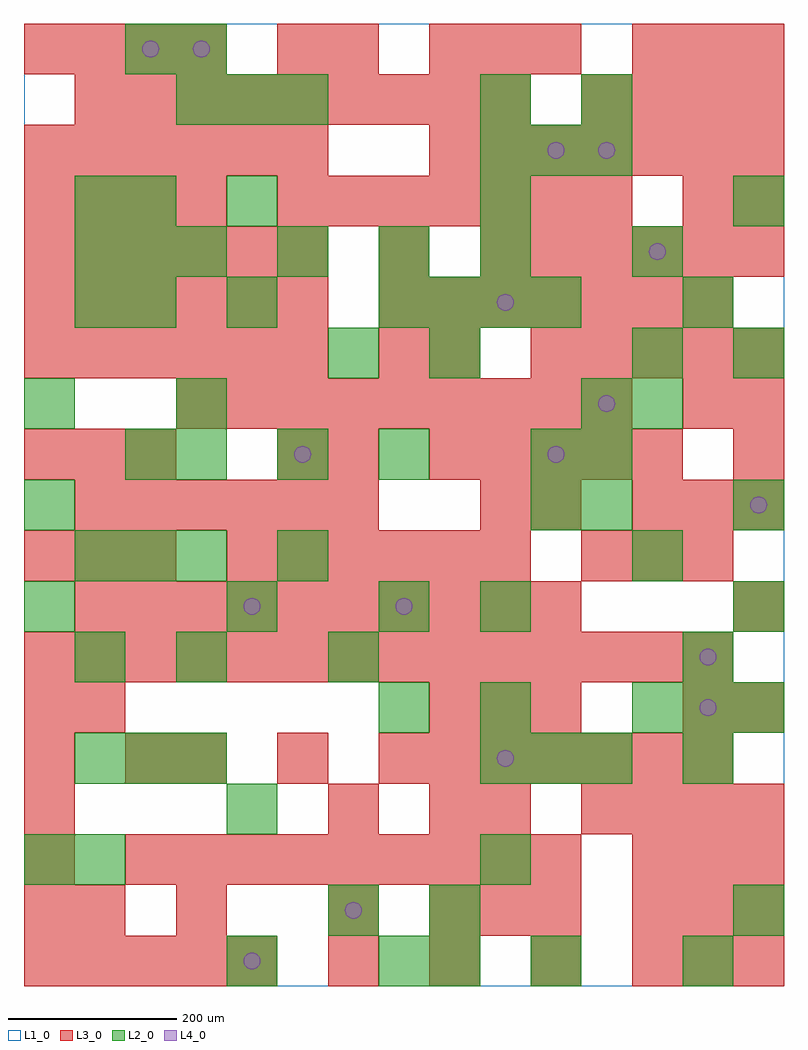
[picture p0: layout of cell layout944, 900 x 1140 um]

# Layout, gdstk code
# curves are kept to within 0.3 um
import gdstk
lib = gdstk.Library(unit=1e-6, precision=1e-09)
def R(c, l, rs):  # rectangles x0, y0, x1, y1
    for r in rs: c.add(gdstk.rectangle(r[:2], r[2:], *l))
def A(c, l, x, y, w, h, nx, ny, dx, dy):  # array of equal rectangles
    R(c, l, [(x+i*dx, y+j*dy, x+i*dx+w, y+j*dy+h) for i in range(nx) for j in range(ny)])
def P(c, l, *ps):  # polygons
    for p in ps: c.add(gdstk.Polygon(p, *l))
L1_0 = (1, 0)
L2_0 = (2, 0)
L3_0 = (3, 0)
L4_0 = (4, 0)

layout944 = lib.new_cell('layout944')
R(layout944, L1_0, [(0,0,900,1140)])
A(layout944, L2_0, 60, 240, 60, 60, 3, 2, 60, 240)
A(layout944, L2_0, 540, 240, 60, 60, 3, 2, 60, 720)
A(layout944, L2_0, 720, 300, 60, 60, 3, 1, 60, 0)
A(layout944, L2_0, 0, 420, 60, 60, 1, 3, 0, 120)
A(layout944, L2_0, 660, 540, 60, 60, 1, 3, 0, 60)
A(layout944, L2_0, 180, 600, 60, 60, 3, 1, 120, 0)
A(layout944, L2_0, 420, 780, 60, 60, 4, 1, 60, 0)
A(layout944, L2_0, 60, 840, 60, 60, 3, 1, 60, 0)
A(layout944, L2_0, 300, 840, 60, 60, 3, 1, 120, 0)
A(layout944, L2_0, 240, 900, 60, 60, 3, 1, 300, 0)
A(layout944, L2_0, 180, 1020, 60, 60, 3, 1, 60, 0)
R(layout944, L2_0, [(240,0,300,60), (420,0,480,60), (480,0,540,60), (600,0,660,60), (780,0,840,60), (360,60,420,120), (480,60,540,120), (840,60,900,120), (0,120,60,180), (60,120,120,180), (540,120,600,180), (240,180,300,240), (780,240,840,300), (420,300,480,360), (540,300,600,360), (60,360,120,420), (180,360,240,420), (360,360,420,420), (780,360,840,420), (240,420,300,480), (420,420,480,480), (540,420,600,480), (840,420,900,480), (300,480,360,540), (720,480,780,540), (600,540,660,600), (840,540,900,600), (120,600,180,660), (600,600,660,660), (180,660,240,720), (720,660,780,720), (360,720,420,780), (480,720,540,780), (720,720,780,780), (840,720,900,780), (60,780,120,840), (120,780,180,840), (240,780,300,840), (780,780,840,840), (720,840,780,900), (60,900,120,960), (120,900,180,960), (540,1020,600,1080), (660,1020,720,1080), (120,1080,180,1140), (180,1080,240,1140)])
A(layout944, L3_0, 0, 0, 60, 60, 5, 1, 60, 0)
A(layout944, L3_0, 360, 0, 60, 60, 4, 1, 120, 0)
A(layout944, L3_0, 0, 60, 60, 60, 1, 5, 0, 60)
A(layout944, L3_0, 480, 60, 60, 60, 3, 2, 60, 240)
A(layout944, L3_0, 720, 60, 60, 60, 3, 2, 60, 60)
A(layout944, L3_0, 120, 120, 60, 60, 9, 1, 60, 0)
A(layout944, L3_0, 660, 180, 60, 60, 4, 2, 60, 840)
A(layout944, L3_0, 180, 240, 60, 60, 3, 1, 120, 0)
A(layout944, L3_0, 480, 240, 60, 60, 6, 1, 60, 0)
A(layout944, L3_0, 0, 360, 60, 60, 14, 1, 60, 0)
A(layout944, L3_0, 60, 420, 60, 60, 10, 1, 60, 0)
A(layout944, L3_0, 0, 480, 60, 60, 3, 2, 60, 120)
A(layout944, L3_0, 240, 480, 60, 60, 6, 1, 60, 0)
A(layout944, L3_0, 660, 480, 60, 60, 3, 1, 60, 0)
A(layout944, L3_0, 60, 540, 60, 60, 6, 1, 60, 0)
A(layout944, L3_0, 720, 540, 60, 60, 3, 2, 60, 540)
A(layout944, L3_0, 480, 600, 60, 60, 5, 1, 60, 0)
A(layout944, L3_0, 180, 660, 60, 60, 9, 1, 60, 0)
A(layout944, L3_0, 0, 720, 60, 60, 6, 3, 60, 60)
A(layout944, L3_0, 600, 720, 60, 60, 5, 1, 60, 0)
A(layout944, L3_0, 420, 780, 60, 60, 7, 1, 60, 0)
A(layout944, L3_0, 540, 840, 60, 60, 6, 1, 60, 0)
A(layout944, L3_0, 0, 900, 60, 60, 4, 2, 60, 180)
A(layout944, L3_0, 300, 900, 60, 60, 7, 1, 60, 0)
A(layout944, L3_0, 0, 960, 60, 60, 6, 1, 60, 0)
A(layout944, L3_0, 480, 960, 60, 60, 7, 1, 60, 0)
A(layout944, L3_0, 60, 1020, 60, 60, 9, 1, 60, 0)
A(layout944, L3_0, 480, 1080, 60, 60, 3, 1, 60, 0)
R(layout944, L3_0, [(780,0,840,60), (840,0,900,60), (60,60,120,120), (180,60,240,120), (360,60,420,120), (360,180,420,240), (480,180,540,240), (540,180,600,240), (120,240,180,300), (60,300,120,360), (780,300,840,360), (840,300,900,360), (840,420,900,480), (540,540,600,600), (600,540,660,600), (300,600,360,660), (360,600,420,660), (840,600,900,660), (780,660,840,720), (840,660,900,720), (420,720,480,780), (480,720,540,780), (420,840,480,900), (780,900,840,960), (840,900,900,960), (300,1080,360,1140), (360,1080,420,1140)])
P(layout944, L4_0, [(160,1110),(159.239,1113.827),(157.071,1117.071),(153.827,1119.239),(150,1120),(146.173,1119.239),(142.929,1117.071),(140.761,1113.827),(140,1110),(140.761,1106.173),(142.929,1102.929),(146.173,1100.761),(150,1100),(153.827,1100.761),(157.071,1102.929),(159.239,1106.173)],
  [(220,1110),(219.239,1113.827),(217.071,1117.071),(213.827,1119.239),(210,1120),(206.173,1119.239),(202.929,1117.071),(200.761,1113.827),(200,1110),(200.761,1106.173),(202.929,1102.929),(206.173,1100.761),(210,1100),(213.827,1100.761),(217.071,1102.929),(219.239,1106.173)],
  [(280,30),(279.239,33.827),(277.071,37.071),(273.827,39.239),(270,40),(266.173,39.239),(262.929,37.071),(260.761,33.827),(260,30),(260.761,26.173),(262.929,22.929),(266.173,20.761),(270,20),(273.827,20.761),(277.071,22.929),(279.239,26.173)],
  [(280,450),(279.239,453.827),(277.071,457.071),(273.827,459.239),(270,460),(266.173,459.239),(262.929,457.071),(260.761,453.827),(260,450),(260.761,446.173),(262.929,442.929),(266.173,440.761),(270,440),(273.827,440.761),(277.071,442.929),(279.239,446.173)],
  [(340,630),(339.239,633.827),(337.071,637.071),(333.827,639.239),(330,640),(326.173,639.239),(322.929,637.071),(320.761,633.827),(320,630),(320.761,626.173),(322.929,622.929),(326.173,620.761),(330,620),(333.827,620.761),(337.071,622.929),(339.239,626.173)],
  [(400,90),(399.239,93.827),(397.071,97.071),(393.827,99.239),(390,100),(386.173,99.239),(382.929,97.071),(380.761,93.827),(380,90),(380.761,86.173),(382.929,82.929),(386.173,80.761),(390,80),(393.827,80.761),(397.071,82.929),(399.239,86.173)],
  [(460,450),(459.239,453.827),(457.071,457.071),(453.827,459.239),(450,460),(446.173,459.239),(442.929,457.071),(440.761,453.827),(440,450),(440.761,446.173),(442.929,442.929),(446.173,440.761),(450,440),(453.827,440.761),(457.071,442.929),(459.239,446.173)],
  [(580,270),(579.239,273.827),(577.071,277.071),(573.827,279.239),(570,280),(566.173,279.239),(562.929,277.071),(560.761,273.827),(560,270),(560.761,266.173),(562.929,262.929),(566.173,260.761),(570,260),(573.827,260.761),(577.071,262.929),(579.239,266.173)],
  [(580,810),(579.239,813.827),(577.071,817.071),(573.827,819.239),(570,820),(566.173,819.239),(562.929,817.071),(560.761,813.827),(560,810),(560.761,806.173),(562.929,802.929),(566.173,800.761),(570,800),(573.827,800.761),(577.071,802.929),(579.239,806.173)],
  [(640,630),(639.239,633.827),(637.071,637.071),(633.827,639.239),(630,640),(626.173,639.239),(622.929,637.071),(620.761,633.827),(620,630),(620.761,626.173),(622.929,622.929),(626.173,620.761),(630,620),(633.827,620.761),(637.071,622.929),(639.239,626.173)],
  [(640,990),(639.239,993.827),(637.071,997.071),(633.827,999.239),(630,1000),(626.173,999.239),(622.929,997.071),(620.761,993.827),(620,990),(620.761,986.173),(622.929,982.929),(626.173,980.761),(630,980),(633.827,980.761),(637.071,982.929),(639.239,986.173)],
  [(700,690),(699.239,693.827),(697.071,697.071),(693.827,699.239),(690,700),(686.173,699.239),(682.929,697.071),(680.761,693.827),(680,690),(680.761,686.173),(682.929,682.929),(686.173,680.761),(690,680),(693.827,680.761),(697.071,682.929),(699.239,686.173)],
  [(700,990),(699.239,993.827),(697.071,997.071),(693.827,999.239),(690,1000),(686.173,999.239),(682.929,997.071),(680.761,993.827),(680,990),(680.761,986.173),(682.929,982.929),(686.173,980.761),(690,980),(693.827,980.761),(697.071,982.929),(699.239,986.173)],
  [(760,870),(759.239,873.827),(757.071,877.071),(753.827,879.239),(750,880),(746.173,879.239),(742.929,877.071),(740.761,873.827),(740,870),(740.761,866.173),(742.929,862.929),(746.173,860.761),(750,860),(753.827,860.761),(757.071,862.929),(759.239,866.173)],
  [(820,330),(819.239,333.827),(817.071,337.071),(813.827,339.239),(810,340),(806.173,339.239),(802.929,337.071),(800.761,333.827),(800,330),(800.761,326.173),(802.929,322.929),(806.173,320.761),(810,320),(813.827,320.761),(817.071,322.929),(819.239,326.173)],
  [(820,390),(819.239,393.827),(817.071,397.071),(813.827,399.239),(810,400),(806.173,399.239),(802.929,397.071),(800.761,393.827),(800,390),(800.761,386.173),(802.929,382.929),(806.173,380.761),(810,380),(813.827,380.761),(817.071,382.929),(819.239,386.173)],
  [(880,570),(879.239,573.827),(877.071,577.071),(873.827,579.239),(870,580),(866.173,579.239),(862.929,577.071),(860.761,573.827),(860,570),(860.761,566.173),(862.929,562.929),(866.173,560.761),(870,560),(873.827,560.761),(877.071,562.929),(879.239,566.173)])

lib.write_gds('layout944.gds')
